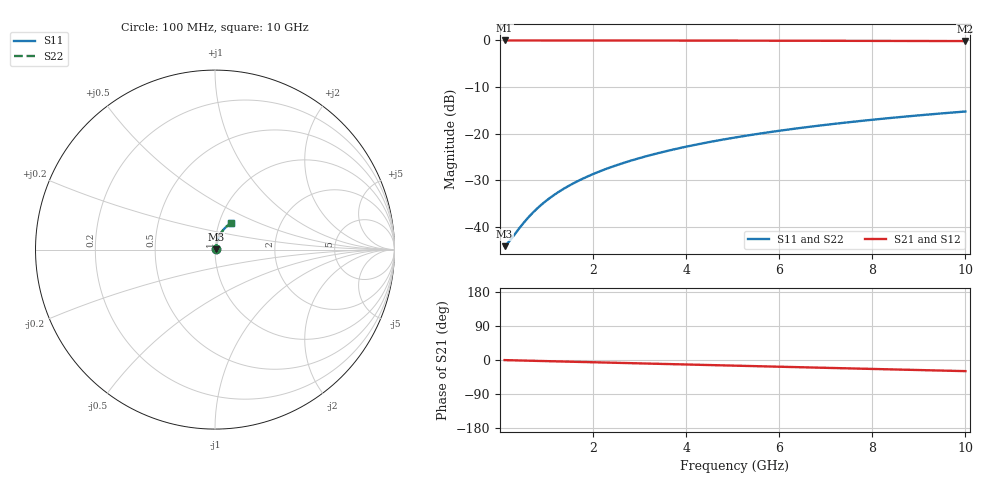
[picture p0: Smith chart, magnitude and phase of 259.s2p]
# Hz S RI R 50.00
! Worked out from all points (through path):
!   100 points, 100 MHz to 10 GHz, reference 50 ohm
!   highest |S21| = -0.05 dB at 100 MHz (marker M1); lowest = -0.2 dB at 10 GHz (marker M2)
!   group delay of S21, straight-line fit = 8.17 ps
!   lowest |S11| = -44.1 dB at 100 MHz (marker M3), VSWR 1.01, Z = 50.6 + j0.181 ohm
!   |S11| at or under -10 dB: start of sweep to end of sweep
!   |S22| runs from -44.1 to -15.3 dB; largest |S21 - S12| = 0
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1e8  0.00595 0.00179  0.994 -0.00514  0.994 -0.00514  0.00595 0.00179
2e8  0.00602 0.00357  0.994 -0.0103  0.994 -0.0103  0.00602 0.00357
5e8  0.00628 0.00893  0.9936 -0.0257  0.9936 -0.0257  0.00628 0.00893
6e8  0.0064 0.0107  0.9934 -0.0308  0.9934 -0.0308  0.0064 0.0107
7e8  0.00653 0.0125  0.9932 -0.036  0.9932 -0.036  0.00653 0.0125
9e8  0.00686 0.016  0.9927 -0.0462  0.9927 -0.0462  0.00686 0.016
1.1e9  0.00725 0.0196  0.992 -0.0565  0.992 -0.0565  0.00725 0.0196
1.3e9  0.00771 0.0231  0.9913 -0.0667  0.9913 -0.0667  0.00771 0.0231
1.5e9  0.00825 0.0267  0.9904 -0.077  0.9904 -0.077  0.00825 0.0267
1.8e9  0.00918 0.0319  0.9889 -0.0923  0.9889 -0.0923  0.00918 0.0319
2.1e9  0.0103 0.0372  0.9872 -0.1076  0.9872 -0.1076  0.0103 0.0372
2.5e9  0.012 0.0441  0.9844 -0.1279  0.9844 -0.1279  0.012 0.0441
2.9e9  0.014 0.0509  0.9812 -0.1481  0.9812 -0.1481  0.014 0.0509
3.4e9  0.0169 0.0593  0.9765 -0.1733  0.9765 -0.1733  0.0169 0.0593
3.8e9  0.0195 0.066  0.9722 -0.1933  0.9722 -0.1933  0.0195 0.066
4.2e9  0.0224 0.0725  0.9675 -0.2132  0.9675 -0.2132  0.0224 0.0725
5.1e9  0.0298 0.0866  0.9553 -0.2574  0.9553 -0.2574  0.0298 0.0866
5.9e9  0.0375 0.0985  0.9426 -0.2959  0.9426 -0.2959  0.0375 0.0985
6.7e9  0.046 0.1097  0.9282 -0.3338  0.9282 -0.3338  0.046 0.1097
7.5e9  0.0555 0.1201  0.9122 -0.3708  0.9122 -0.3708  0.0555 0.1201
8.4e9  0.0671 0.1308  0.8924 -0.4113  0.8924 -0.4113  0.0671 0.1308
1e10  0.0898 0.147  0.8526 -0.4802  0.8526 -0.4802  0.0898 0.147
